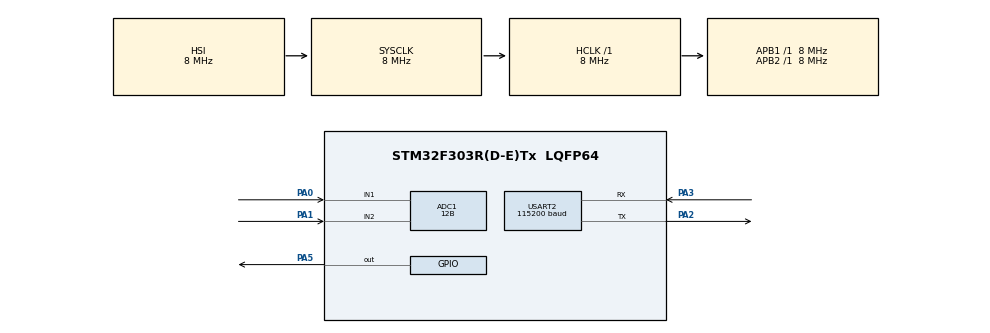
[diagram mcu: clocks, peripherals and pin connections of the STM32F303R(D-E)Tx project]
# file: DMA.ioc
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ADC1.Channel-10\#ChannelRegularConversion=ADC_CHANNEL_2
ADC1.Channel-8\#ChannelRegularConversion=ADC_CHANNEL_1
ADC1.ClockPrescaler=ADC_CLOCK_ASYNC_DIV1
ADC1.ContinuousConvMode=ENABLE
ADC1.DMAContinuousRequests=ENABLE
ADC1.DataAlign=ADC_DATAALIGN_RIGHT
ADC1.DiscontinuousConvMode=DISABLE
ADC1.EOCSelection=ADC_EOC_SEQ_CONV
ADC1.EnableAnalogWatchDog1=false
ADC1.EnableAnalogWatchDog2=false
ADC1.EnableAnalogWatchDog3=false
ADC1.EnableInjectedConversion=ENABLE
ADC1.EnableRegularConversion=ENABLE
ADC1.ExternalTrigConv=ADC_SOFTWARE_START
ADC1.ExternalTrigConvEdge=ADC_EXTERNALTRIGCONVEDGE_NONE
ADC1.InjNumberOfConversion=0
ADC1.LowPowerAutoWait=DISABLE
ADC1.NbrOfConversion=2
ADC1.NbrOfConversionFlag=1
ADC1.Offset-10\#ChannelRegularConversion=0
ADC1.Offset-8\#ChannelRegularConversion=0
ADC1.OffsetNumber-10\#ChannelRegularConversion=ADC_OFFSET_NONE
ADC1.OffsetNumber-8\#ChannelRegularConversion=ADC_OFFSET_NONE
ADC1.Overrun=ADC_OVR_DATA_OVERWRITTEN
ADC1.Rank-10\#ChannelRegularConversion=2
ADC1.Rank-8\#ChannelRegularConversion=1
ADC1.Resolution=ADC_RESOLUTION_12B
ADC1.SamplingTime-10\#ChannelRegularConversion=ADC_SAMPLETIME_601CYCLES_5
ADC1.SamplingTime-8\#ChannelRegularConversion=ADC_SAMPLETIME_601CYCLES_5
ADC1.ScanConvMode=ADC_SCAN_ENABLE
ADC1.master=1
Dma.ADC1.0.Direction=DMA_PERIPH_TO_MEMORY
Dma.ADC1.0.Instance=DMA1_Channel1
Dma.ADC1.0.MemDataAlignment=DMA_MDATAALIGN_HALFWORD
Dma.ADC1.0.MemInc=DMA_MINC_ENABLE
Dma.ADC1.0.Mode=DMA_CIRCULAR
Dma.ADC1.0.PeriphDataAlignment=DMA_PDATAALIGN_HALFWORD
Dma.ADC1.0.PeriphInc=DMA_PINC_DISABLE
Dma.ADC1.0.Priority=DMA_PRIORITY_LOW
Dma.Request0=ADC1
Mcu.Family=STM32F3
Mcu.Name=STM32F303R(D-E)Tx
Mcu.Package=LQFP64
NVIC.DMA1_Channel1_IRQn=true\:0\:0\:false\:false\:true\:false
NVIC.PriorityGroup=NVIC_PRIORITYGROUP_4
PA0.Mode=IN1-Single-Ended
PA0.Signal=ADC1_IN1
PA1.Mode=IN2-Single-Ended
PA1.Signal=ADC1_IN2
PA2.Mode=Asynchronous
PA2.Signal=USART2_TX
PA3.Mode=Asynchronous
PA3.Signal=USART2_RX
PA5.Signal=GPIO_Output
ProjectManager.HeapSize=0x200
ProjectManager.StackSize=0x400
ProjectManager.TargetToolchain=Makefile
RCC.AHBFreq_Value=8000000
RCC.APB1Freq_Value=8000000
RCC.APB2Freq_Value=8000000
RCC.CortexFreq_Value=8000000
RCC.HSE_VALUE=8000000
RCC.HSI_VALUE=8000000
RCC.LSE_VALUE=32768
RCC.SYSCLKFreq_VALUE=8000000
RCC.USBFreq_Value=16000000
USART2.BaudRate=115200
USART2.VirtualMode-Asynchronous=VM_ASYNC
USART2.WordLength=WORDLENGTH_8B
board=DMA

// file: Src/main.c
/**
  ******************************************************************************
  * @file           : main.c
  * @brief          : Main program body
  ******************************************************************************
  ** This notice applies to any and all portions of this file
  * that are not between comment pairs USER CODE BEGIN and
  * USER CODE END. Other portions of this file, whether
  * inserted by the user or by software development tools
  * are owned by their respective copyright owners.
  *
  * COPYRIGHT(c) 2018 STMicroelectronics
  *
  * Redistribution and use in source and binary forms, with or without modification,
  * are permitted provided that the following conditions are met:
  *   1. Redistributions of source code must retain the above copyright notice,
  *      this list of conditions and the following disclaimer.
  *   2. Redistributions in binary form must reproduce the above copyright notice,
  *      this list of conditions and the following disclaimer in the documentation
  *      and/or other materials provided with the distribution.
  *   3. Neither the name of STMicroelectronics nor the names of its contributors
  *      may be used to endorse or promote products derived from this software
  *      without specific prior written permission.
  *
  * THIS SOFTWARE IS PROVIDED BY THE COPYRIGHT HOLDERS AND CONTRIBUTORS "AS IS"
  * AND ANY EXPRESS OR IMPLIED WARRANTIES, INCLUDING, BUT NOT LIMITED TO, THE
  * IMPLIED WARRANTIES OF MERCHANTABILITY AND FITNESS FOR A PARTICULAR PURPOSE ARE
  * DISCLAIMED. IN NO EVENT SHALL THE COPYRIGHT HOLDER OR CONTRIBUTORS BE LIABLE
  * FOR ANY DIRECT, INDIRECT, INCIDENTAL, SPECIAL, EXEMPLARY, OR CONSEQUENTIAL
  * DAMAGES (INCLUDING, BUT NOT LIMITED TO, PROCUREMENT OF SUBSTITUTE GOODS OR
  * SERVICES; LOSS OF USE, DATA, OR PROFITS; OR BUSINESS INTERRUPTION) HOWEVER
  * CAUSED AND ON ANY THEORY OF LIABILITY, WHETHER IN CONTRACT, STRICT LIABILITY,
  * OR TORT (INCLUDING NEGLIGENCE OR OTHERWISE) ARISING IN ANY WAY OUT OF THE USE
  * OF THIS SOFTWARE, EVEN IF ADVISED OF THE POSSIBILITY OF SUCH DAMAGE.
  *
  ******************************************************************************
  */
#include "main.h"
#include "stm32f3xx_hal.h"
#include "adc.h"
#include "dma.h"
#include "usart.h"
#include "gpio.h"

/* USER CODE BEGIN PV */
/* Private variables ---------------------------------------------------------*/
char log_buffer[100];
#define true 1
#define false 0
int sampleA0 = 0;
int sampleA1 = 0;
long sumA0 = 0;
long sumA1 = 0;

/* USER CODE END PV */

void SystemClock_Config(void);

/* USER CODE BEGIN PFP */
/* Private function prototypes -----------------------------------------------*/

/* USER CODE END PFP */

/* USER CODE BEGIN 0 */
void process_frame(int offset)
{
  for(int i=0; i<2000; i+=2)
  {
    sampleA0 = adc1_dma_buff[offset+i];
    sumA0 += sampleA0;
    sampleA1 = adc1_dma_buff[offset+i+1];
    sumA1 += sampleA1;
  }
}

/* USER CODE END 0 */

int main(void)
{

  /* MCU Configuration----------------------------------------------------------*/

  /* Reset of all peripherals, Initializes the Flash interface and the Systick. */
  HAL_Init();

  /* Configure the system clock */
  SystemClock_Config();

  /* Initialize all configured peripherals */
  MX_GPIO_Init();
  MX_DMA_Init();
  MX_USART2_UART_Init();
  MX_ADC1_Init();
  /* USER CODE BEGIN 2 */
  start_ADC1();

  /* USER CODE END 2 */

  /* Infinite loop */
  /* USER CODE BEGIN WHILE */
  while (1)
  {
    if (adc1_half_conv_complete && !adc1_half_conv_overrun)
    {
      HAL_GPIO_WritePin(GPIOA, GPIO_PIN_5, GPIO_PIN_RESET);      // LED off
      adc1_half_conv_complete = false;
      process_frame(0);  // 0 to 2000
    }

    if (adc1_full_conv_complete && !adc1_full_conv_overrun)
    {
      HAL_GPIO_WritePin(GPIOA, GPIO_PIN_5, GPIO_PIN_SET);        // LED on
      adc1_full_conv_complete = false;
      process_frame(2000); // 2000 to 4000

      // 4000 Samples all together divided by 2 inputs = 2000 samples per input
      int meanA0 = sumA0 / 2000;
      int meanA1 = sumA1 / 2000;

      sprintf(log_buffer,"Mean A0 %d\r\n", meanA0);
      debug_printf(log_buffer);

      sprintf(log_buffer,"Mean A1 %d\r\n", meanA1);
      debug_printf(log_buffer);

      sumA0 = 0;
      sumA1 = 0;
    }
  /* USER CODE END WHILE */

  }

}

void SystemClock_Config(void)
{

  RCC_OscInitTypeDef RCC_OscInitStruct;
  RCC_ClkInitTypeDef RCC_ClkInitStruct;
  RCC_PeriphCLKInitTypeDef PeriphClkInit;

    /**Initializes the CPU, AHB and APB busses clocks
    */
  RCC_OscInitStruct.OscillatorType = RCC_OSCILLATORTYPE_HSI;
  RCC_OscInitStruct.HSIState = RCC_HSI_ON;
  RCC_OscInitStruct.HSICalibrationValue = 16;
  RCC_OscInitStruct.PLL.PLLState = RCC_PLL_ON;
  RCC_OscInitStruct.PLL.PLLSource = RCC_PLLSOURCE_HSI;
  RCC_OscInitStruct.PLL.PLLMUL = RCC_PLL_MUL2;
  RCC_OscInitStruct.PLL.PREDIV = RCC_PREDIV_DIV1;
  if (HAL_RCC_OscConfig(&RCC_OscInitStruct) != HAL_OK)
  {
    _Error_Handler(__FILE__, __LINE__);
  }

    /**Initializes the CPU, AHB and APB busses clocks
    */
  RCC_ClkInitStruct.ClockType = RCC_CLOCKTYPE_HCLK|RCC_CLOCKTYPE_SYSCLK
                              |RCC_CLOCKTYPE_PCLK1|RCC_CLOCKTYPE_PCLK2;
  RCC_ClkInitStruct.SYSCLKSource = RCC_SYSCLKSOURCE_HSI;
  RCC_ClkInitStruct.AHBCLKDivider = RCC_SYSCLK_DIV1;
  RCC_ClkInitStruct.APB1CLKDivider = RCC_HCLK_DIV1;
  RCC_ClkInitStruct.APB2CLKDivider = RCC_HCLK_DIV1;

  if (HAL_RCC_ClockConfig(&RCC_ClkInitStruct, FLASH_LATENCY_0) != HAL_OK)
  {
    _Error_Handler(__FILE__, __LINE__);
  }

  PeriphClkInit.PeriphClockSelection = RCC_PERIPHCLK_USART2|RCC_PERIPHCLK_ADC12;
  PeriphClkInit.Usart2ClockSelection = RCC_USART2CLKSOURCE_PCLK1;
  PeriphClkInit.Adc12ClockSelection = RCC_ADC12PLLCLK_DIV1;
  if (HAL_RCCEx_PeriphCLKConfig(&PeriphClkInit) != HAL_OK)
  {
    _Error_Handler(__FILE__, __LINE__);
  }

    /**Configure the Systick interrupt time
    */
  HAL_SYSTICK_Config(HAL_RCC_GetHCLKFreq()/1000);

    /**Configure the Systick
    */
  HAL_SYSTICK_CLKSourceConfig(SYSTICK_CLKSOURCE_HCLK);

  /* SysTick_IRQn interrupt configuration */
  HAL_NVIC_SetPriority(SysTick_IRQn, 0, 0);
}

void _Error_Handler(char *file, int line)
{
  while(1)
  {
  }
}

/************************ (C) COPYRIGHT STMicroelectronics *****END OF FILE****/
